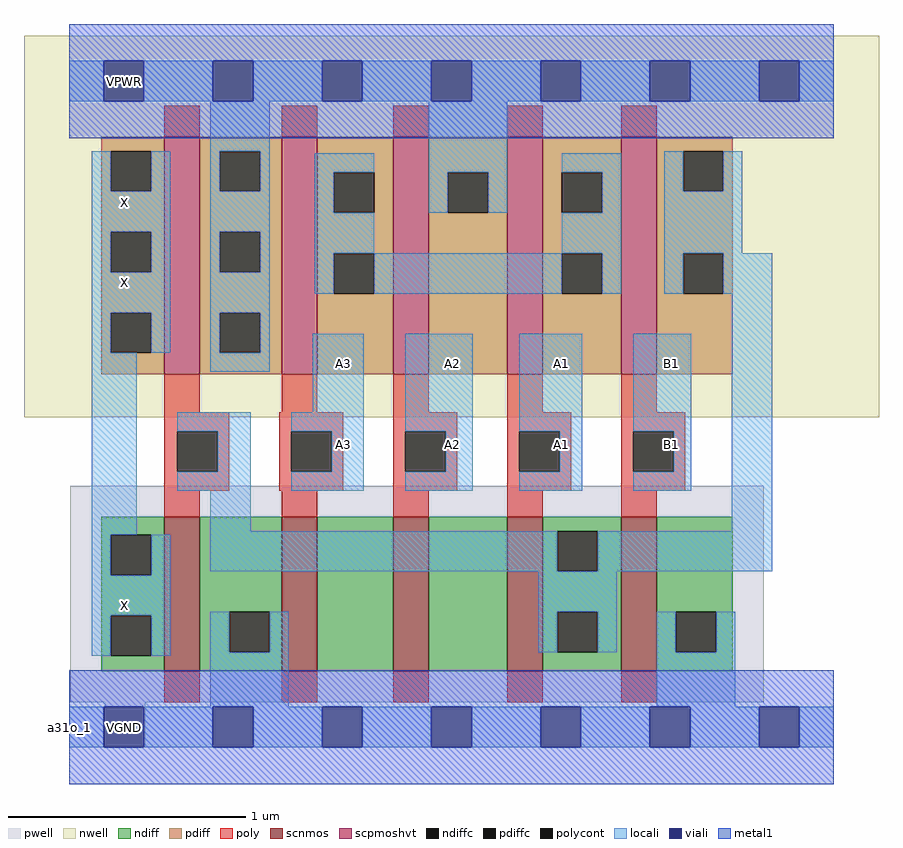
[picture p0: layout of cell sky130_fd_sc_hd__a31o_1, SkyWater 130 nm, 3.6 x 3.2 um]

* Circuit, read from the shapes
.subckt sky130_fd_sc_hd__a31o_1 VGND VPWR VPB VNB X A3 A2 A1 B1
XM1 VGND n1 X VNB sky130_fd_pr__nfet_01v8 w=0.65 l=0.15
XM2 n2 A3 VGND VNB sky130_fd_pr__nfet_01v8 w=0.65 l=0.15
XM3 n3 A2 n2 VNB sky130_fd_pr__nfet_01v8 w=0.65 l=0.15
XM4 n1 A1 n3 VNB sky130_fd_pr__nfet_01v8 w=0.65 l=0.15
XM5 VGND B1 n1 VNB sky130_fd_pr__nfet_01v8 w=0.65 l=0.15
XM6 VPWR n1 X VPB sky130_fd_pr__pfet_01v8_hvt w=1 l=0.15
XM7 n4 A3 VPWR VPB sky130_fd_pr__pfet_01v8_hvt w=1 l=0.15
XM8 VPWR A2 n4 VPB sky130_fd_pr__pfet_01v8_hvt w=1 l=0.15
XM9 n4 A1 VPWR VPB sky130_fd_pr__pfet_01v8_hvt w=1 l=0.15
XM10 n1 B1 n4 VPB sky130_fd_pr__pfet_01v8_hvt w=1 l=0.15
.ends

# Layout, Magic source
magic
tech sky130B
magscale 1 2
<< nwell >>
rect -38 221 682 542
<< pwell >>
rect 1 -19 585 163
rect 30 -57 64 -19
<< scnmos >>
rect 80 7 110 137
rect 179 7 209 137
rect 273 7 303 137
rect 369 7 399 137
rect 465 7 495 137
<< scpmoshvt >>
rect 80 257 110 457
rect 179 257 209 457
rect 273 257 303 457
rect 369 257 399 457
rect 465 257 495 457
<< ndiff >>
rect 27 122 80 137
rect 27 88 35 122
rect 69 88 80 122
rect 27 54 80 88
rect 27 20 35 54
rect 69 20 80 54
rect 27 7 80 20
rect 110 57 179 137
rect 110 23 135 57
rect 169 23 179 57
rect 110 7 179 23
rect 209 7 273 137
rect 303 7 369 137
rect 399 125 465 137
rect 399 91 411 125
rect 445 91 465 125
rect 399 57 465 91
rect 399 23 411 57
rect 445 23 465 57
rect 399 7 465 23
rect 495 57 559 137
rect 495 23 511 57
rect 545 23 559 57
rect 495 7 559 23
<< pdiff >>
rect 27 445 80 457
rect 27 411 35 445
rect 69 411 80 445
rect 27 377 80 411
rect 27 343 35 377
rect 69 343 80 377
rect 27 309 80 343
rect 27 275 35 309
rect 69 275 80 309
rect 27 257 80 275
rect 110 445 179 457
rect 110 411 127 445
rect 161 411 179 445
rect 110 377 179 411
rect 110 343 127 377
rect 161 343 179 377
rect 110 309 179 343
rect 110 275 127 309
rect 161 275 179 309
rect 110 257 179 275
rect 209 427 273 457
rect 209 393 223 427
rect 257 393 273 427
rect 209 359 273 393
rect 209 325 223 359
rect 257 325 273 359
rect 209 257 273 325
rect 303 427 369 457
rect 303 393 319 427
rect 353 393 369 427
rect 303 257 369 393
rect 399 427 465 457
rect 399 393 415 427
rect 449 393 465 427
rect 399 359 465 393
rect 399 325 415 359
rect 449 325 465 359
rect 399 257 465 325
rect 495 445 559 457
rect 495 411 517 445
rect 551 411 559 445
rect 495 359 559 411
rect 495 325 517 359
rect 551 325 559 359
rect 495 257 559 325
<< ndiffc >>
rect 35 88 69 122
rect 35 20 69 54
rect 135 23 169 57
rect 411 91 445 125
rect 411 23 445 57
rect 511 23 545 57
<< pdiffc >>
rect 35 411 69 445
rect 35 343 69 377
rect 35 275 69 309
rect 127 411 161 445
rect 127 343 161 377
rect 127 275 161 309
rect 223 393 257 427
rect 223 325 257 359
rect 319 393 353 427
rect 415 393 449 427
rect 415 325 449 359
rect 517 411 551 445
rect 517 325 551 359
<< poly >>
rect 80 457 110 483
rect 179 457 209 483
rect 273 457 303 483
rect 369 457 399 483
rect 465 457 495 483
rect 80 225 110 257
rect 179 225 209 257
rect 273 225 303 257
rect 369 225 399 257
rect 465 225 495 257
rect 80 209 135 225
rect 80 175 91 209
rect 125 175 135 209
rect 80 159 135 175
rect 177 209 231 225
rect 177 175 187 209
rect 221 175 231 209
rect 177 159 231 175
rect 273 209 327 225
rect 273 175 283 209
rect 317 175 327 209
rect 273 159 327 175
rect 369 209 423 225
rect 369 175 379 209
rect 413 175 423 209
rect 369 159 423 175
rect 465 209 519 225
rect 465 175 475 209
rect 509 175 519 209
rect 465 159 519 175
rect 80 137 110 159
rect 179 137 209 159
rect 273 137 303 159
rect 369 137 399 159
rect 465 137 495 159
rect 80 -19 110 7
rect 179 -19 209 7
rect 273 -19 303 7
rect 369 -19 399 7
rect 465 -19 495 7
<< polycont >>
rect 91 175 125 209
rect 187 175 221 209
rect 283 175 317 209
rect 379 175 413 209
rect 475 175 509 209
<< locali >>
rect 0 487 29 521
rect 63 487 121 521
rect 155 487 213 521
rect 247 487 305 521
rect 339 487 397 521
rect 431 487 489 521
rect 523 487 581 521
rect 615 487 644 521
rect 119 445 169 487
rect 19 411 35 445
rect 69 411 85 445
rect 19 377 85 411
rect 19 343 35 377
rect 69 343 85 377
rect 19 309 85 343
rect 19 275 35 309
rect 69 275 85 309
rect 119 411 127 445
rect 161 411 169 445
rect 119 377 169 411
rect 119 343 127 377
rect 161 343 169 377
rect 119 309 169 343
rect 207 427 257 443
rect 207 393 223 427
rect 303 427 369 487
rect 303 393 319 427
rect 353 393 369 427
rect 415 427 465 443
rect 449 393 465 427
rect 207 359 257 393
rect 415 359 465 393
rect 207 325 223 359
rect 257 325 415 359
rect 449 325 465 359
rect 501 411 517 445
rect 551 411 567 445
rect 501 359 567 411
rect 501 325 517 359
rect 551 325 592 359
rect 119 275 127 309
rect 161 275 169 309
rect 19 122 57 275
rect 119 259 169 275
rect 205 225 248 291
rect 91 209 153 225
rect 125 175 153 209
rect 91 159 153 175
rect 187 209 248 225
rect 221 175 248 209
rect 187 159 248 175
rect 283 209 340 291
rect 317 175 340 209
rect 283 159 340 175
rect 379 209 432 291
rect 413 175 432 209
rect 379 159 432 175
rect 475 209 524 291
rect 509 175 524 209
rect 475 159 524 175
rect 119 125 153 159
rect 558 125 592 325
rect 19 88 35 122
rect 69 88 85 122
rect 119 91 411 125
rect 445 91 592 125
rect 19 54 85 88
rect 395 57 461 91
rect 19 20 35 54
rect 69 20 85 54
rect 119 23 135 57
rect 169 23 185 57
rect 395 23 411 57
rect 445 23 461 57
rect 495 23 511 57
rect 545 23 561 57
rect 119 -23 185 23
rect 495 -23 561 23
rect 0 -57 29 -23
rect 63 -57 121 -23
rect 155 -57 213 -23
rect 247 -57 305 -23
rect 339 -57 397 -23
rect 431 -57 489 -23
rect 523 -57 581 -23
rect 615 -57 644 -23
<< viali >>
rect 29 487 63 521
rect 121 487 155 521
rect 213 487 247 521
rect 305 487 339 521
rect 397 487 431 521
rect 489 487 523 521
rect 581 487 615 521
rect 29 -57 63 -23
rect 121 -57 155 -23
rect 213 -57 247 -23
rect 305 -57 339 -23
rect 397 -57 431 -23
rect 489 -57 523 -23
rect 581 -57 615 -23
<< metal1 >>
rect 0 521 644 552
rect 0 487 29 521
rect 63 487 121 521
rect 155 487 213 521
rect 247 487 305 521
rect 339 487 397 521
rect 431 487 489 521
rect 523 487 581 521
rect 615 487 644 521
rect 0 456 644 487
rect 0 -23 644 8
rect 0 -57 29 -23
rect 63 -57 121 -23
rect 155 -57 213 -23
rect 247 -57 305 -23
rect 339 -57 397 -23
rect 431 -57 489 -23
rect 523 -57 581 -23
rect 615 -57 644 -23
rect 0 -88 644 -57
<< labels >>
rlabel comment s 0 -40 0 -40 4 a31o_1
flabel metal1 s 30 -57 64 -23 0 FreeSans 200 0 0 0 VGND
port 2 nsew
flabel metal1 s 30 487 64 521 0 FreeSans 200 0 0 0 VPWR
port 3 nsew
flabel nwell s 30 487 64 521 0 FreeSans 200 0 0 0 VPB
port 5 nsew
flabel pwell s 30 -57 64 -23 0 FreeSans 200 0 0 0 VNB
port 6 nsew
flabel locali s 306 249 340 283 0 FreeSans 200 0 0 0 A2
port 9 nsew
flabel locali s 490 249 524 283 0 FreeSans 200 0 0 0 B1
port 11 nsew
flabel locali s 398 181 432 215 0 FreeSans 200 0 0 0 A1
port 10 nsew
flabel locali s 214 249 248 283 0 FreeSans 200 0 0 0 A3
port 8 nsew
flabel locali s 306 181 340 215 0 FreeSans 200 0 0 0 A2
port 9 nsew
flabel locali s 214 181 248 215 0 FreeSans 200 0 0 0 A3
port 8 nsew
flabel locali s 30 385 64 419 0 FreeSans 200 0 0 0 X
port 7 nsew
flabel locali s 398 249 432 283 0 FreeSans 200 0 0 0 A1
port 10 nsew
flabel locali s 30 317 64 351 0 FreeSans 200 0 0 0 X
port 7 nsew
flabel locali s 30 45 64 79 0 FreeSans 200 0 0 0 X
port 7 nsew
flabel locali s 490 181 524 215 0 FreeSans 200 0 0 0 B1
port 11 nsew
<< properties >>
string FIXED_BBOX 0 -40 644 504
string path 0.000 -1.000 16.100 -1.000 
<< end >>
